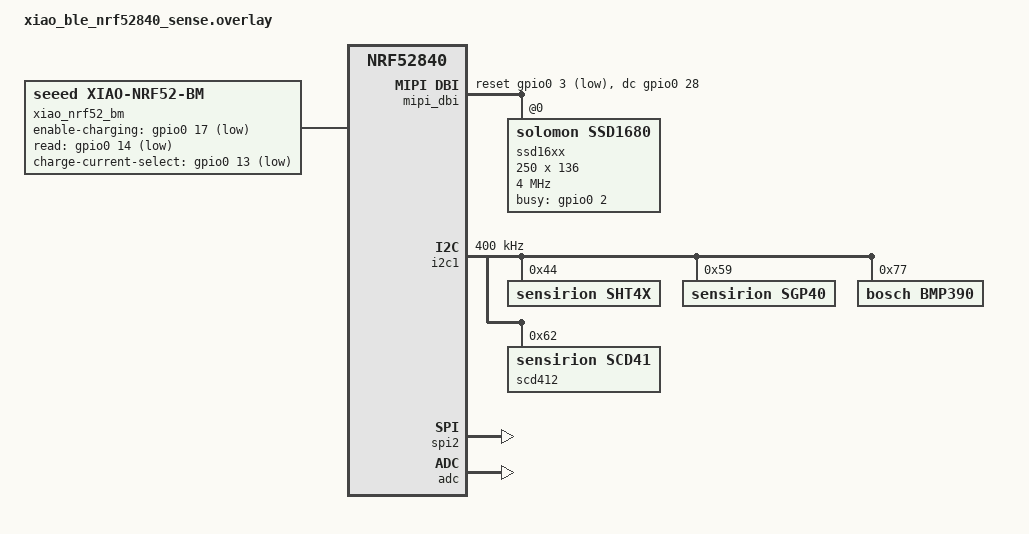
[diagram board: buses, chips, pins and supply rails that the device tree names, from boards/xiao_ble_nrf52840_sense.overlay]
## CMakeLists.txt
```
# SPDX-License-Identifier: Apache-2.0

cmake_minimum_required(VERSION 3.20.0)

# Add custom Devicetree bindings
set(DTC_OVERLAY_FILE ${CMAKE_CURRENT_SOURCE_DIR}/dts/bindings)

find_package(Zephyr REQUIRED HINTS $ENV{ZEPHYR_BASE})
project(air-quality-sensor-nrf52)

# Add the header files
include_directories(
    include 
    thirdparty/sensirion_gas_index_algorithm
)

FILE(GLOB_RECURSE app_sources
    src/*.c
    thirdparty/*.c
)
target_sources(app PRIVATE ${app_sources})
```

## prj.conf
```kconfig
# Bluetooth
CONFIG_BT=y
CONFIG_BT_PERIPHERAL=y
CONFIG_BT_DEVICE_NAME="Environmental sensor N"
# 0x0542, Air quality Sensor
CONFIG_BT_DEVICE_APPEARANCE=1346
# Comment out below if filter list is not used
# CONFIG_BT_PRIVACY=y
# CONFIG_BT_OBSERVER=y
# CONFIG_BT_FILTER_ACCEPT_LIST=y

# Peripherals and drivers
CONFIG_FLASH=y      # Required to set flash to sleep
CONFIG_GPIO=y       # Required to control LED
CONFIG_I2C=y        # Required for sensors
CONFIG_SENSOR=y     # Required for sensors
CONFIG_ADC=y        # Required for battery level check
CONFIG_SPI=y        # Required for EPD
CONFIG_DISPLAY=y    # Required for EPD

# Device drivers
CONFIG_SSD16XX=y    # Required for EPD
CONFIG_SGP40=y      # Required for SGP40
CONFIG_SHT4X=y      # Required for SHT4X

# Low power
CONFIG_PM_DEVICE=y
CONFIG_POWEROFF=y

# Display
CONFIG_MAIN_STACK_SIZE=4096
CONFIG_LV_Z_MEM_POOL_SIZE=8192
CONFIG_LVGL=y
CONFIG_LV_CONF_MINIMAL=y
CONFIG_LV_MEM_CUSTOM=y
CONFIG_LV_FONT_MONTSERRAT_10=y
CONFIG_LV_FONT_MONTSERRAT_16=y
CONFIG_LV_FONT_MONTSERRAT_18=y
CONFIG_LV_FONT_MONTSERRAT_20=y
CONFIG_LV_FONT_MONTSERRAT_24=y
CONFIG_LV_FONT_MONTSERRAT_26=y
CONFIG_LV_FONT_MONTSERRAT_28=y
CONFIG_LV_FONT_MONTSERRAT_32=y
CONFIG_LV_FONT_MONTSERRAT_36=y
CONFIG_LV_FONT_MONTSERRAT_48=y
CONFIG_OUTPUT_SYMBOLS=y
CONFIG_LV_Z_BITS_PER_PIXEL=1
CONFIG_LV_USE_LINE=y
CONFIG_LV_USE_LABEL=y

# CONFIG_LV_USE_QRCODE=y
# CONFIG_LV_USE_LOG=y
# CONFIG_LV_USE_BTN=y
# CONFIG_LV_USE_ARC=y
# CONFIG_LV_USE_IMG=y
# CONFIG_LV_USE_MONKEY=y
# CONFIG_LV_Z_MEM_POOL_SIZE=16384

# Logging (comment below to enable log)
# CONFIG_USB_CDC_ACM_LOG_LEVEL_OFF=n
# CONFIG_USB_DEVICE_STACK=n
# CONFIG_LOG=n
# CONFIG_SERIAL=n
# CONFIG_CONSOLE=n
# CONFIG_UART_CONSOLE=n

# Logging (uncomment below to enable log)
CONFIG_LOG=y
CONFIG_SERIAL=y
CONFIG_CONSOLE=y
CONFIG_UART_CONSOLE=y
CONFIG_LOG_DEFAULT_LEVEL=3
```

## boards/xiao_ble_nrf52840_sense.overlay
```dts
// To get started, press Ctrl+Space to bring up the completion menu and view the available nodes.

// You can also use the buttons in the sidebar to perform actions on nodes.
// Actions currently available include:

// * Enabling / disabling the node
// * Adding the bus to a bus
// * Removing the node
// * Connecting ADC channels

// For more help, browse the DeviceTree documentation at https: //docs.zephyrproject.org/latest/guides/dts/index.html
// You can also visit the nRF DeviceTree extension documentation at https: //docs.nordicsemi.com/bundle/nrf-connect-vscode/page/guides/ncs_configure_app.html#devicetree-support-in-the-extension

/ {
	xiao_nrf52_bm: xiao_nrf52_bm{
		compatible = "seeed,xiao-nrf52-bm";
		enable-charging-gpios = <&gpio0 17 GPIO_ACTIVE_LOW>;
		read-gpios = <&gpio0 14 GPIO_ACTIVE_LOW>;
		charge-current-select-gpios = <&gpio0 13 GPIO_ACTIVE_LOW>;
	};
};

&i2c1 {
	status = "okay";
	clock-frequency = <I2C_BITRATE_FAST>;
	sht4x@44 {
		status = "okay";
		compatible = "sensirion,sht4x";
		reg = <0x44>;
		repeatability = <2>;
	};
	sgp40@59 {
		status = "okay";
		compatible = "sensirion,sgp40";
		reg = <0x59>;
		// enable-selftest;
	};
	bmp390@77 {
		status = "okay";
		compatible = "bosch,bmp390";
		reg = <0x77>;
		odr = "50";
		osr-press = <2>;
		osr-temp = <1>;
		iir-filter = <1>;
		mode = <1>;
		enable-pressure;
		enable-temp;
	};
	scd412@62 {
		status = "okay";
		compatible = "sensirion,scd41";
		reg = <0x62>;
		mode = <2>;
		// enable-selftest;
	};
};

&qspi {
	// Do not change the pins during sleep otherwise a 6mA consumption happens
	pinctrl-1 = <&qspi_default>;
};

&spi2 {
	status = "okay";
	cs-gpios = <&gpio0 29 GPIO_ACTIVE_LOW>;
};

/{
	 mipi_dbi {
		compatible = "zephyr,mipi-dbi-spi";
		spi-dev = <&spi2>;
		dc-gpios = <&gpio0 28 GPIO_ACTIVE_HIGH>;
		reset-gpios = <&gpio0 3 GPIO_ACTIVE_LOW>;
		#address-cells = <1>;
		#size-cells = <0>;

		ssd16xx: ssd16xxfb@0 {
			compatible = "solomon,ssd1680";
			mipi-max-frequency = <4000000>;
			reg = <0>;
			width = <250>;
			height = <136>;
			rotation = <0>;
			busy-gpios = <&gpio0 2 GPIO_ACTIVE_HIGH>;

			full {
				// gdv = [15];
				// sdv = [41 a8 32];
				// vcom = <0x26>;
				// border-waveform = <0x03>;
				// dummy-line = <0x30>;
				// gate-line-width = <0x0a>;
				lut = [];
					// /*
					// * Waveform Composition
					// *
					// * There are 7 Voltage Source (VS) Level groups
					// * n = {0,1,2...6}, each group contains
					// * 4 phases x = {A,B,C,D}.
					// * 2 bits represent the voltage in a phase:
					// * 00 – VSS, 01 – VSH1, 10 – VSL, 11 - VSH2
					// *
					// * For example 0x80 represents sequence VSL-VSS-VSS-VSS,
					// */
					// 80 60 40 00 00 00 00 /* LUT0: BB: VS 0..6 */
					// 10 60 20 00 00 00 00 /* LUT1: BW: VS 0..6 */
					// 80 60 40 00 00 00 00 /* LUT2: WB: VS 0..6 */
					// 10 60 20 00 00 00 00 /* LUT3: WW: VS 0..6 */
					// 00 00 00 00 00 00 00 /* LUT4: VCOM: VS 0..6 */
					// /*
					// * TPnx determines the length of each phase,
					// * and RPn repeat count of a sequence.
					// * TPnA, TPnB, TPnC, TPnD, RPn
					// *
					// * For example TP0A=3, TP0B=3, and RP0=2:
					// * VS sequence                    : VSL-VSS-VSS-VSS
					// * number of Gate Pulses (length) :  3   3   0   0
					// * repeat count                   :        2
					// */
					// 03 03 00 00 02 /* TP0A TP0B TP0C TP0D RP0 */
					// 09 09 00 00 02 /* TP1A TP1B TP1C TP1D RP1 */
					// 03 03 00 00 02 /* TP2A TP2B TP2C TP2D RP2 */
					// 00 00 00 00 00 /* TP3A TP3B TP3C TP3D RP3 */
					// 00 00 00 00 00 /* TP4A TP4B TP4C TP4D RP4 */
					// 00 00 00 00 00 /* TP5A TP5B TP5C TP5D RP5 */
					// 00 00 00 00 00 /* TP6A TP6B TP6C TP6D RP6 */
				// ];
			};

			// partial {
			// // 	gdv = [15];
			// // 	sdv = [41 a8 32];
			// // 	vcom = <0x26>;
			// // 	border-waveform = <0x01>;
			// // 	dummy-line = <0x30>;
			// // 	gate-line-width = <0x0a>;
			// 	lut = [];
			// // 		00 00 00 00 00 00 00 /* LUT0: BB: VS0..6 */
			// // 		80 00 00 00 00 00 00 /* LUT1: BW: VS0..6 */
			// // 		40 00 00 00 00 00 00 /* LUT2: WB: VS0..6 */
			// // 		80 00 00 00 00 00 00 /* LUT3: WW: VS0..6 */
			// // 		00 00 00 00 00 00 00 /* LUT4: VCOM: VS0..6 */
			// // 		0A 00 00 00 04 /* TP0A TP0B TP0C TP0D RP0 */
			// // 		00 00 00 00 00 /* TP1A TP1B TP1C TP1D RP1 */
			// // 		00 00 00 00 00 /* TP2A TP2B TP2C TP2D RP2 */
			// // 		00 00 00 00 00 /* TP3A TP3B TP3C TP3D RP3 */
			// // 		00 00 00 00 00 /* TP4A TP4B TP4C TP4D RP4 */
			// // 		00 00 00 00 00 /* TP5A TP5B TP5C TP5D RP5 */
			// // 		00 00 00 00 00 /* TP6A TP6B TP6C TP6D RP6 */
			// // 	];
			// };
		};
	};
};

/ {
	aliases {
		ssd1680 = &ssd16xx;
		spi-flash0 = &p25q16h;
	};
	chosen {
		zephyr_display = &ssd16xx; // or your display node label
	};
};

&spi3 {
	status = "disabled";
};

&adc {
	status = "okay";
};

&uart0 {
	status = "disabled";
};

&pwm0 {
	status = "disabled";
};

&gpio0 {
	status = "okay";
};
```

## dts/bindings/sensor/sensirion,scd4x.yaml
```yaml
# dts/bindings/sensor/sensirion,scd4x.yaml
description: Sensirion SCD4x CO₂ sensor

compatible: "sensirion,scd41"

include: [sensor-device.yaml, i2c-device.yaml]

properties:
  mode:
    type: int
    required: true
    description: |
      - 0: Normal periodic measurement. Default interval of 5sec
      - 1: Low power periodic measurement. Interval of 30sec
      - 2: Singleshot measurement for low power usage.
      - 3: Singleshot measurement with power cycling (only beneficial with intervals of greater than 380sec).
    enum:
      - 0
      - 1
      - 2 
      - 3
  enable-selftest:
    type: boolean
    description: |
      Enabling this will run a selftest when the driver initializes.
      The selftest takes ~10s.
```

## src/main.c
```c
#include <air_quality_monitor.h>

#include <zephyr/logging/log.h>

LOG_MODULE_REGISTER(main);

int main(void)
{
	LOG_INF("Initializing the air quality monitor.");
	int err;

	// Initialize the air quality monitor
	err = init_air_quality_monitor();
	if (err)
	{
		LOG_ERR("Error while initializing the air quality monitor (err %d)", err);
		return err;
	}

	LOG_INF("Initialization complete, exiting main.");
	return 0;
}
```

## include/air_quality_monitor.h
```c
#ifndef AIR_QUALITY_MONITOR_H
#define AIR_QUALITY_MONITOR_H

/**
 * @brief Initialize air quality monitor
 * Initialize BLE, LED controller, sensors and the timed task
 *
 * @return int, 0 if ok, non-zero if an error occured
 */
int init_air_quality_monitor(void);

#endif // AIR_QUALITY_MONITOR_H
```

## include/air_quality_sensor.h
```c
#ifndef AIR_QUALITY_SENSOR_H
#define AIR_QUALITY_SENSOR_H

int init_air_quality_sensor(void);

#endif // AIR_QUALITY_SENSOR_H
```

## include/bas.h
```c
#ifndef BAS_H
#define BAS_H

#include <stdint.h>

/** @brief Read battery_level value.
 *
 * Read the characteristic value of the battery_level
 *
 *  @return The battery_level.
 */
float bt_bas_get_battery_level(void);

/** @brief Update battery_level value.
 *
 * Update the characteristic value of the battery_level
 *
 *  @param new_battery_level The battery level in percent.
 *
 *  @return Zero in case of success and error code in case of error.
 */
int bt_bas_set_battery_level(float new_battery_level);



#endif // BAS_H
```

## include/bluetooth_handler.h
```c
#ifndef BLUETOOTH_HANDLER_H
#define BLUETOOTH_HANDLER_H

#include <zephyr/bluetooth/bluetooth.h>

/**
 * @brief BLE exit callback type
 *
 */
typedef void (*ble_exit_cb_t)(bool);

/**
 * @brief Enable BLE
 *
 * @param cb callback or when advertising is stopped
 * @return int Zero for success, non-zero otherwise.
 */
int init_ble(ble_exit_cb_t cb);

/**
 * @brief Update advertisement data
 *
 * @return int Zero for success, non-zero otherwise.
 */
int update_advertisement_data();

/**
 * @brief Start advertising data. Setup timeout to end advertisement.
 *
 * @return int Zero for success, non-zero otherwise.
 */
int start_advertise(void);

#endif // BLUETOOTH_HANDLER_H
```

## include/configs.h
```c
#ifndef CONFIG_H
#define CONFIG_H

// System
// #define ENABLE_SYSTEM_OFF // Enable to allow SYSTEM_OFF sleep, otherwise SYSTEM_ON IDLE loop is used

// Bluetooth
// #define ENABLE_CONN_FILTER_LIST // Use filter list for connections (not finished)

// Data config
#define FIRST_TASK_DELAY 1000                                                   // milliseconds
#define ADVERTISEMENT_INTERVAL 20000                                            // milliseconds
#define BLE_TIMEOUT 10000                                                       // milliseconds
#define MEASUREMENTS_PER_INTERVAL 1                                             // Number of measurements per interval
#define MEASUREMENT_INTERVAL ADVERTISEMENT_INTERVAL / MEASUREMENTS_PER_INTERVAL // milliseconds

// LED config
#define LED_BLINK_INTERVAL 50 // milliseconds
#define ENABLE_EVENT_LED      // Enable or disable event LED

// Sensors
#define ENABLE_SHT4X  // Enable or disable SHT4X sensor
#define ENABLE_SGP40  // Enable or disable SGP40 sensor
#define ENABLE_SCD4X  // Enable or disable SCD4X sensor
#define ENABLE_BMP390 // Enable or disable BMP390 sensor

// Environment
#define ALTITUDE 10          // meters
#define TEMPERATURE_OFFSET 0 // meters

// Screen
#define ENABLE_EPD // Enable or disable the screen

// Battery monitor
#define ENABLE_BATTERY_MONITOR     // Enable or disable battery monitor
#define BATTERY_TYPE_SAMSUNG_Q30   // Used battery type currently supported choices: BATTERY_TYPE_SAMSUNG_Q30
#define BM_ADC_ID 0                // ADC channel for battery monitor
#define USE_FAST_CHARGING 1        // 0 for slow (50 mA) charging, 1 for fast (100 mA) charging
#define ADC_SAMPLES_TOTAL 10       // Number of samples to take for averaging
#define ADC_SAMPLE_INTERVAL_US 500 // Microseconds
#define BM_ADC_RESOLUTION 12       // ADC resolution in bits
#define VOLTAGE_DIVIDER_R1 1031    // 1Mohm
#define VOLTAGE_DIVIDER_R2 510     // 510kohm

// Value scaling and min max for warning
#define TEMPERATURE_SCALE 100 // 100 for 2 decimal places
#define TEMPERATURE_MIN -100  // Celsius
#define TEMPERATURE_MAX 100   // Celsius

#define HUMIDITY_SCALE 100 // 100 for 2 decimal places
#define HUMIDITY_MIN 0     // Percentage
#define HUMIDITY_MAX 100   // Percentage

#define PRESSURE_SCALE 0.1f // 0.1 for -1 decimal place
#define PRESSURE_MIN 0      // Pascals
#define PRESSURE_MAX 200000 // Pascals

#define CO2_CONCENTRATION_SCALE 10  // 10 for 1 decimal place
#define CO2_CONCENTRATION_MIN 0     // ppm
#define CO2_CONCENTRATION_MAX 10000 // ppm

#define VOC_INDEX_SCALE 10 // 10 for 1 decimal place
#define VOC_INDEX_MIN 0    // index value (0-500)
#define VOC_INDEX_MAX 500  // index value (0-500)

#endif
```

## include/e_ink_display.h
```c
#ifndef E_INK_DISPLAY_H
#define E_INK_DISPLAY_H

/**
 * @brief Initialize e-ink display
 * 
 * @return int, 0 if ok, non-zero if an error occured
 */
int init_e_ink_display(void);

/**
 * @brief Update data displayed
 * 
 * @return int, 0 if ok, non-zero if an error occured
 */
int update_e_ink_display(void);

#endif // E_INK_DISPLAY_H
```

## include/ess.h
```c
#ifndef ESS_H
#define ESS_H

#include <stdint.h>

/** @brief Read temperature value.
 *
 * Read the characteristic value of the temperature
 *
 *  @return The temperature in Celcius.
 */
float bt_ess_get_temperature(void);

/** @brief Read humidity value.
 *
 * Read the characteristic value of the humidity
 *
 *  @return The humidity in RH%.
 */
float bt_ess_get_humidity(void);

/** @brief Read pressure value.
 *
 * Read the characteristic value of the pressure
 *
 *  @return The pressure in Pascal.
 */
float bt_ess_get_pressure(void);

/** @brief Read CO2 concentration value.
 *
 * Read the characteristic value of the CO2 concentration
 *
 *  @return The CO2 concentration in ppm.
 */
float bt_ess_get_co2_concentration(void);

/** @brief Read VOC index value.
 *
 * Read the characteristic value of the VOC index
 *
 *  @return The VOC index.
 */
float bt_ess_get_voc_index(void);

/** @brief Update temperature value.
 *
 * Update the characteristic value of the temperature
 *
 *  @param new_temperature The temperature in Celcius.
 *
 *  @return Zero in case of success and error code in case of error.
 */
int bt_ess_set_temperature(float new_temperature);

/** @brief Update humidity value.
 *
 * Update the characteristic value of the humidity
 *
 *  @param new_humidity The new humidity in RH%.
 *
 *  @return Zero in case of success and error code in case of error.
 */
int bt_ess_set_humidity(float new_humidity);

/** @brief Update pressure value.
 *
 * Update the characteristic value of the pressure
 *
 *  @param new_pressure The new pressure in Pascal.
 *
 *  @return Zero in case of success and error code in case of error.
 */
int bt_ess_set_pressure(float new_pressure);

/** @brief Update CO2 concentration value.
 *
 * Update the characteristic value of the CO2 concentration
 *
 *  @param new_co2_concentration The new CO2 concentration in ppm.
 
 *  @return Zero in case of success and error code in case of error.
 */
int bt_ess_set_co2_concentration(float new_co2_concentration);

/** @brief Update VOC index value.
 *
 * Update the characteristic value of the VOC index
 *
 *  @param new_voc_index The new VOC index.
 *
 *  @return Zero in case of success and error code in case of error.
 */
int bt_ess_set_voc_index(float new_voc_index);



#endif // ESS_H
```

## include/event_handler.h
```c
#ifndef EVENT_HANDLER_H
#define EVENT_HANDLER_H

#include <zephyr/kernel.h>

#include <variables.h>

/**
 * @brief Enumeration for events
 *
 */
typedef enum
{
    INITIALIZATION_SUCCESS,
    INITIALIZATION_ERROR,
    PERIODIC_TASK_SUCCESS,
    PERIODIC_TASK_WARNING,
    PERIODIC_TASK_ERROR
} event_t;

/**
 * @brief Initialize event handler
 *
 * @return int, 0 if ok, non-zero if an error occured
 */
int init_event_handler(void);

/**
 * @brief Handle event by blinking LED if ENABLE_EVENT_LED is defined
 *
 * @param event Event received
 */
void dispatch_event(event_t event);

/**
 * @brief Wake up from SYSTEM_OFF sleep
 *
 * @return int, 0 if ok, non-zero if an error occured
 */
int wake_up(void);

#endif // EVENT_HANDLER_H
```

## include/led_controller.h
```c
#ifndef LED_CONTROLLER_H
#define LED_CONTROLLER_H

#include <zephyr/kernel.h>
#include <zephyr/drivers/gpio.h>

#include <variables.h>

#define LED_OFF 0
#define LED_ON 1

typedef enum
{
    LED_OFF_COLOR = 0,
    LED_RED = BIT(0),
    LED_GREEN = BIT(1),
    LED_BLUE = BIT(2),
    LED_YELLOW = LED_RED | LED_GREEN,
    LED_CYAN = LED_GREEN | LED_BLUE,
    LED_MAGENTA = LED_RED | LED_BLUE,
    LED_WHITE = LED_RED | LED_GREEN | LED_BLUE
} led_color_t;

/**
 * @brief Struct for containing led related information
 *
 */
typedef struct {
    led_color_t color;
    int remaining_toggles;
    bool is_on;
    struct k_timer timer;
} led_blink_ctx_t;

/**
 * @brief Initialize all LED devices
 *
 * @return int, 0 if ok, non-zero if an error occured
 */
int init_led_controller(void);

void blink_led(led_color_t color, int count);

void set_led(led_color_t color);

void blink_handler(struct k_timer *timer);

#endif // LED_CONTROLLER_H
```

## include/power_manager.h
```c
#ifndef POWER_MANAGER_H
#define POWER_MANAGER_H

/**
 * @brief Initialize power manager by forcing the external flash to low power mode
 *
 * @return int, 0 if ok, non-zero if an error occured
 */
int init_power_manager(void);

/**
 * @brief Enter low power mode, SYSTEM_OFF if ENABLE_SYSTEM_OFF is defined and SYSTEM_ON IDLE otherwise
 *
 * @return int, 0 if ok, non-zero if an error occured
 */
int enter_low_power_mode(void);

#endif // POWER_MANAGER_H
```

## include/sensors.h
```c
#ifndef SENSORS_H
#define SENSORS_H

#include <stdint.h>

/**
 * @brief Initialize all sensors
 *
 * @return int, 0 if ok, non-zero if an error occured
 */
int init_sensors(void);

/**
 * @brief Read SHT4X sensor data and save the temperature and humidity to the variables
 *
 * @param index Index of the measurement
 * @return int, 0 if ok, non-zero if an error occured
 */
int read_sht4x_data(uint8_t index);

/**
 * @brief Read SGP40 sensor data and save the VOC index to the variables
 *
 * @param index Index of the measurement
 * @return int, 0 if ok, non-zero if an error occured
 */
int read_sgp40_data(uint8_t index);

/**
 * @brief Read BMP390 sensor data and save the pressure to the variables
 *
 * @param index Index of the measurement
 * @return int, 0 if ok, non-zero if an error occured
 */
int read_bmp390_data(uint8_t index);

/**
 * @brief Read SCD4X sensor data and save the temperature, humidity and CO2 levels to the variables
 *
 * @param index Index of the measurement
 * @return int, 0 if ok, non-zero if an error occured
 */
int read_scd4x_data(uint8_t index);

#endif // SENSORS_H
```

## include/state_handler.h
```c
#ifndef STATE_HANDLER_H
#define STATE_HANDLER_H

/**
 * @brief Enumeration for states
 *
 */
typedef enum
{
    STATE_NOT_SET,
    INITIALIZING,
    ACTIVE,
    IDLE,
    ERROR
} state_t;

/**
 * @brief Initialize state handler
 *
 * @return int, 0 if ok, non-zero if an error occured
 */
int init_state_handler(void);

/**
 * @brief Set the state object
 *
 * @param new_state New state
 */
void set_state(state_t new_state);

/**
 * @brief Get the state object
 *
 * @return state_t, current state
 */
state_t get_state(void);

#endif
```
